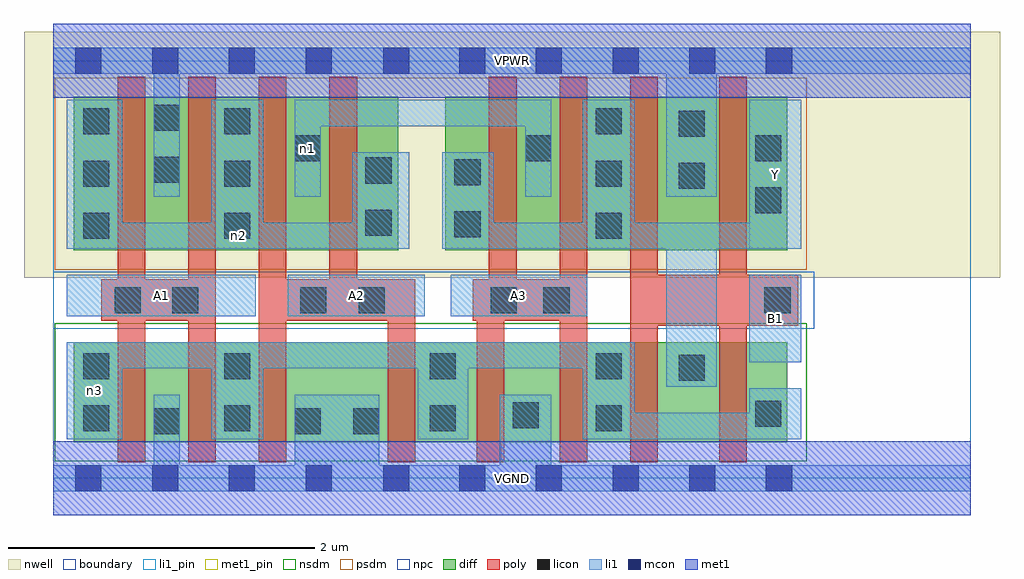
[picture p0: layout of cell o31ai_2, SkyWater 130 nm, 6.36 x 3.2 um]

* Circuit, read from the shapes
.subckt o31ai_2 A1 A2 A3 B1 VGND VPWR Y n1 n2 n3
XM1 VGND A1 n3 VSUBS sky130_fd_pr__nfet_01v8 w=0.65 l=0.18 m=2
XM2 VGND A2 n3 VSUBS sky130_fd_pr__nfet_01v8 w=0.65 l=0.18 m=2
XM3 VGND A3 n3 VSUBS sky130_fd_pr__nfet_01v8 w=0.65 l=0.18 m=2
XM4 Y B1 n3 VSUBS sky130_fd_pr__nfet_01v8 w=0.65 l=0.18 m=2
XM5 VPWR A1 n2 n4 sky130_fd_pr__pfet_01v8 w=1 l=0.18 m=2
XM6 n1 A2 n2 n4 sky130_fd_pr__pfet_01v8 w=1 l=0.18 m=2
XM7 n1 A3 Y n4 sky130_fd_pr__pfet_01v8 w=1 l=0.18 m=2
XM8 VPWR B1 Y n4 sky130_fd_pr__pfet_01v8 w=1 l=0.18 m=2
.ends

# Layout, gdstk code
import gdstk
lib = gdstk.Library(unit=1e-6, precision=1e-09)
def R(c, l, rs):  # rectangles x0, y0, x1, y1
    for r in rs: c.add(gdstk.rectangle(r[:2], r[2:], *l))
def A(c, l, x, y, w, h, nx, ny, dx, dy):  # array of equal rectangles
    R(c, l, [(x+i*dx, y+j*dy, x+i*dx+w, y+j*dy+h) for i in range(nx) for j in range(ny)])
nwell = (64, 20)
diff = (65, 20)
poly = (66, 20)
licon = (66, 44)
li1_pin = (67, 16)
li1 = (67, 20)
mcon = (67, 44)
met1_pin = (68, 16)
met1 = (68, 20)
nsdm = (93, 44)
psdm = (94, 20)
npc = (95, 20)
boundary = (235, 4)

o31ai_2 = lib.new_cell('o31ai_2')
R(o31ai_2, nwell, [(-0.19,1.305,6.17,2.91), (0,1.305,5.98,2.91)])
R(o31ai_2, diff, [(0.135,0.235,4.785,0.885), (0.135,1.485,2.25,2.485), (2.555,1.485,4.785,2.485)])
A(o31ai_2, poly, 0.42, 0.105, 0.18, 2.51, 3, 1, 0.46, 0)
R(o31ai_2, poly, [(2.18,0.105,2.36,1.295), (2.76,0.105,2.94,1.295), (3.3,0.105,3.48,2.615), (3.76,0.105,3.94,2.615), (4.34,0.105,4.52,2.615), (3.76,0.995,4.855,1.325), (0.315,1.025,1.06,1.295), (1.34,1.025,2.36,1.295), (1.8,1.025,1.98,2.615), (2.735,1.025,3.48,1.295), (2.84,1.025,3.02,2.615)])
A(o31ai_2, licon, 0.195, 1.56, 0.17, 0.17, 1, 3, 0, 0.34)
A(o31ai_2, licon, 1.115, 1.56, 0.17, 0.17, 1, 3, 0, 0.34)
A(o31ai_2, licon, 3.535, 1.56, 0.17, 0.17, 1, 3, 0, 0.34)
A(o31ai_2, licon, 1.575, 2.065, 0.17, 0.17, 3, 1, 1.5, 0)
R(o31ai_2, licon, [(0.655,0.285,0.825,0.455), (1.575,0.285,1.745,0.455), (1.955,0.285,2.125,0.455), (0.195,0.305,0.365,0.475), (1.115,0.305,1.285,0.475), (2.455,0.305,2.625,0.475), (3.535,0.305,3.705,0.475), (2.995,0.325,3.165,0.495), (4.575,0.335,4.745,0.505), (4.075,0.635,4.245,0.805), (0.195,0.645,0.365,0.815), (1.115,0.645,1.285,0.815), (2.455,0.645,2.625,0.815), (3.535,0.645,3.705,0.815), (0.4,1.075,0.57,1.245), (0.775,1.075,0.945,1.245), (1.61,1.075,1.78,1.245), (1.99,1.075,2.16,1.245), (2.85,1.075,3.02,1.245), (3.195,1.075,3.365,1.245), (4.635,1.075,4.805,1.245), (2.615,1.57,2.785,1.74), (2.035,1.58,2.205,1.75), (4.575,1.725,4.745,1.895), (4.075,1.885,4.245,2.055), (2.615,1.91,2.785,2.08), (2.035,1.92,2.205,2.09), (0.655,1.925,0.825,2.095), (4.075,2.225,4.245,2.395), (0.655,2.265,0.825,2.435)])
R(o31ai_2, li1_pin, [(4.535,0.755,4.875,1.325), (0.09,1.055,1.32,1.325), (1.53,1.055,2.42,1.325), (2.59,1.055,3.48,1.325), (4.535,1.495,4.875,2.465)])
R(o31ai_2, li1, [(0,-0.085,5.98,0.085), (0.655,-0.085,0.825,0.545), (1.575,-0.085,2.125,0.545), (2.91,-0.085,3.245,0.545), (0.09,0.255,0.45,0.885), (1.03,0.255,1.37,0.885), (2.375,0.255,2.705,0.885), (3.45,0.255,3.79,0.885), (3.45,0.255,4.875,0.425), (4.535,0.255,4.875,0.585), (3.995,0.595,4.325,1.665), (0.09,0.715,3.79,0.885), (4.535,0.755,4.875,1.325), (0.09,1.055,1.32,1.325), (1.53,1.055,2.42,1.325), (2.59,1.055,3.48,1.325), (0.09,1.495,2.32,1.665), (0.09,1.495,0.45,2.465), (1.03,1.495,1.37,2.465), (1.95,1.495,2.32,2.125), (2.535,1.495,2.87,2.125), (2.535,1.495,4.875,1.665), (3.45,1.495,3.79,2.465), (4.535,1.495,4.875,2.465), (0.655,1.835,0.825,2.805), (1.575,1.835,1.745,2.465), (3.075,1.835,3.245,2.465), (3.995,1.835,4.325,2.805), (1.575,2.295,3.245,2.465), (0,2.635,5.98,2.805)])
A(o31ai_2, mcon, 0.145, -0.085, 0.17, 0.17, 4, 2, 0.5, 2.72)
A(o31ai_2, mcon, 2.645, -0.085, 0.17, 0.17, 5, 2, 0.5, 2.72)
R(o31ai_2, mcon, [(2.15,-0.085,2.32,0.085), (2.15,2.635,2.32,2.805)])
R(o31ai_2, met1_pin, [(0,-0.24,5.98,0.24), (0,2.48,5.98,2.96)])
R(o31ai_2, met1, [(0,-0.24,5.98,0.24), (0,2.48,5.98,2.96)])
R(o31ai_2, nsdm, [(0.01,0.11,4.91,1.01)])
R(o31ai_2, psdm, [(0.01,1.36,4.91,2.61)])
R(o31ai_2, npc, [(0,0.975,4.96,1.345)])
R(o31ai_2, boundary, [(0,0,5.98,2.72)])
o31ai_2.add(gdstk.Label('A1', (0.705,1.19), layer=67, texttype=5))
o31ai_2.add(gdstk.Label('A2', (1.975,1.19), layer=67, texttype=5))
o31ai_2.add(gdstk.Label('A3', (3.035,1.19), layer=67, texttype=5))
o31ai_2.add(gdstk.Label('B1', (4.705,1.04), layer=67, texttype=5))
o31ai_2.add(gdstk.Label('Y', (4.705,1.98), layer=67, texttype=5))
o31ai_2.add(gdstk.Label('n3', (0.27,0.57), layer=67, texttype=5))
o31ai_2.add(gdstk.Label('n2', (1.205,1.58), layer=67, texttype=5))
o31ai_2.add(gdstk.Label('n1', (1.66,2.15), layer=67, texttype=5))
o31ai_2.add(gdstk.Label('VPWR', (2.99,2.72), layer=68, texttype=5))
o31ai_2.add(gdstk.Label('VGND', (2.99,0), layer=68, texttype=5))
o31ai_2.add(gdstk.Label('A1', (0.705,1.19), layer=67, texttype=16))
o31ai_2.add(gdstk.Label('A2', (1.975,1.19), layer=67, texttype=16))
o31ai_2.add(gdstk.Label('A3', (3.035,1.19), layer=67, texttype=16))
o31ai_2.add(gdstk.Label('B1', (4.705,1.04), layer=67, texttype=16))
o31ai_2.add(gdstk.Label('Y', (4.705,1.98), layer=67, texttype=16))
o31ai_2.add(gdstk.Label('VPWR', (2.99,2.72), layer=68, texttype=16))
o31ai_2.add(gdstk.Label('VGND', (2.99,0), layer=68, texttype=16))

lib.write_gds('o31ai_2.gds')
